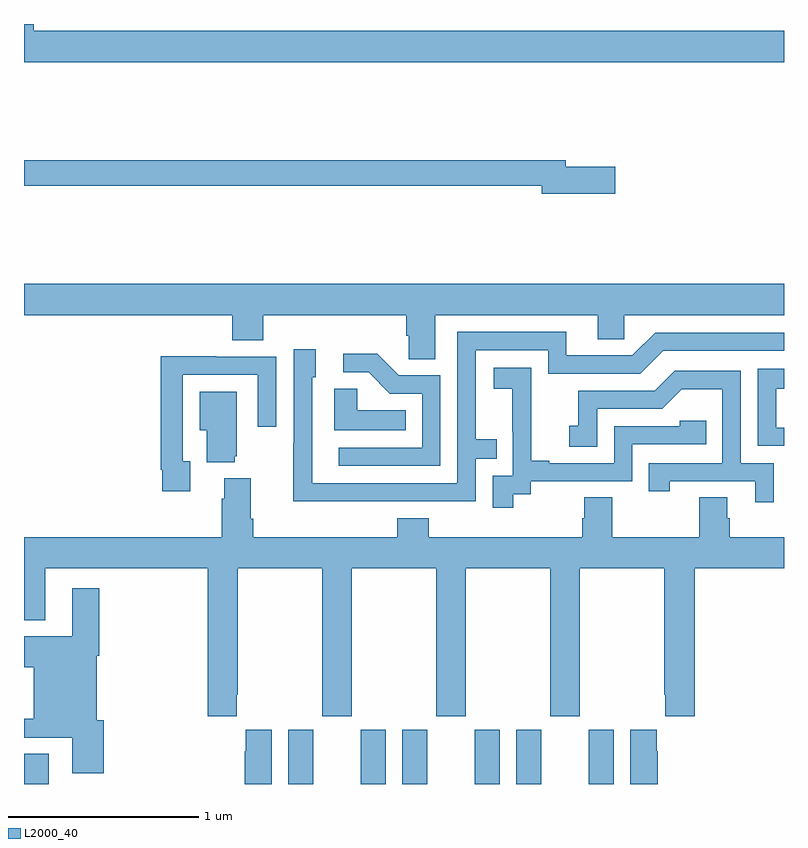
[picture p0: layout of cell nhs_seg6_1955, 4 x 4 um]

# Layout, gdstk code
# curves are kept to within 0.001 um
import gdstk
lib = gdstk.Library(unit=1e-6, precision=1e-09)
def R(c, l, rs):  # rectangles x0, y0, x1, y1
    for r in rs: c.add(gdstk.rectangle(r[:2], r[2:], *l))
def P(c, l, *ps):  # polygons
    for p in ps: c.add(gdstk.Polygon(p, *l))
L2000_40 = (2000, 40)

nhs_seg6_1955 = lib.new_cell('nhs_seg6_1955')
R(nhs_seg6_1955, L2000_40, [(227,979.5,227.131,979.658), (228.392,979.5,228.523,979.786), (228.773,979.5,228.904,979.786), (228.992,979.5,229.123,979.786), (229.373,979.5,229.504,979.786), (229.592,979.5,229.723,979.786), (229.973,979.5,230.104,979.786)])
P(nhs_seg6_1955, L2000_40, [(231,983.464),(227.051,983.464),(227.051,983.5),(227,983.5),(227,983.3),(231,983.3)],
  [(230.113,982.748),(229.852,982.748),(229.852,982.784),(227,982.784),(227,982.648),(229.724,982.648),(229.724,982.606),(230.113,982.606)],
  [(229.165,981.968),(230.021,981.968),(230.021,981.841),(230.16,981.841),(230.16,981.968),(231,981.968),(231,982.132),(227,982.132),(227,981.968),(228.095,981.968),(228.095,981.835),(228.26,981.835),(228.26,981.968),(229.013,981.968),(229.013,981.859),(229.026,981.859),(229.026,981.736),(229.165,981.736)],
  [(228.881,980.988),(229.377,980.988),(229.377,981.213),(229.487,981.213),(229.487,981.314),(229.377,981.314),(229.377,981.783),(229.758,981.783),(229.758,981.66),(230.244,981.66),(230.364,981.78),(231,981.78),(231,981.876),(230.322,981.876),(230.202,981.756),(229.855,981.756),(229.855,981.879),(229.281,981.879),(229.281,981.084),(228.516,981.084),(228.516,981.642),(228.535,981.642),(228.535,981.787),(228.42,981.787),(228.42,981.293),(228.418,981.293),(228.418,980.987)],
  [(229.191,981.651),(228.972,981.651),(228.859,981.764),(228.681,981.764),(228.681,981.666),(228.815,981.666),(228.926,981.555),(229.095,981.555),(229.095,981.27),(228.657,981.27),(228.657,981.174),(229.191,981.174)],
  [(227.875,981.198),(227.835,981.198),(227.835,981.654),(228.231,981.654),(228.231,981.381),(228.327,981.381),(228.327,981.75),(228.011,981.75),(228.011,981.752),(227.719,981.752),(227.719,981.154),(227.727,981.154),(227.727,981.042),(227.875,981.042)],
  [(229.576,981.025),(229.668,981.025),(229.668,981.093),(230.202,981.093),(230.202,981.288),(230.591,981.288),(230.591,981.411),(230.451,981.411),(230.451,981.384),(230.106,981.384),(230.106,981.189),(229.765,981.189),(229.765,981.202),(229.67,981.202),(229.67,981.485),(229.671,981.485),(229.671,981.691),(229.473,981.691),(229.473,981.581),(229.571,981.581),(229.571,981.353),(229.572,981.353),(229.572,981.123),(229.467,981.123),(229.467,980.955),(229.576,980.955)],
  [(231,981.375),(230.959,981.375),(230.959,981.579),(231,981.579),(231,981.685),(230.862,981.685),(230.862,981.279),(231,981.279)],
  [(230.946,981.189),(230.772,981.189),(230.772,981.675),(230.426,981.675),(230.321,981.57),(229.918,981.57),(229.918,981.385),(229.869,981.385),(229.869,981.276),(230.016,981.276),(230.016,981.474),(230.358,981.474),(230.462,981.578),(230.676,981.578),(230.676,981.189),(230.287,981.189),(230.287,981.042),(230.398,981.042),(230.398,981.093),(230.849,981.093),(230.849,980.982),(230.946,980.982)],
  [(229.01,981.466),(228.753,981.466),(228.753,981.581),(228.632,981.581),(228.632,981.362),(229.01,981.362)],
  [(228.11,981.225),(228.121,981.225),(228.121,981.565),(227.924,981.565),(227.924,981.362),(227.963,981.362),(227.963,981.194),(228.11,981.194)],
  [(228.121,979.969),(228.126,979.969),(228.126,980.636),(228.571,980.636),(228.571,979.857),(228.726,979.857),(228.726,980.636),(229.171,980.636),(229.171,979.857),(229.326,979.857),(229.326,980.636),(229.771,980.636),(229.771,979.857),(229.926,979.857),(229.926,980.636),(230.371,980.636),(230.371,979.969),(230.375,979.969),(230.375,979.857),(230.531,979.857),(230.531,980.636),(231,980.636),(231,980.8),(230.714,980.8),(230.714,980.898),(230.701,980.898),(230.701,981.008),(230.554,981.008),(230.554,980.8),(230.097,980.8),(230.097,981.008),(229.949,981.008),(229.949,980.898),(229.937,980.898),(229.937,980.8),(229.13,980.8),(229.13,980.899),(228.965,980.899),(228.965,980.8),(228.206,980.8),(228.206,980.896),(228.193,980.896),(228.193,981.109),(228.053,981.109),(228.053,981.002),(228.041,981.002),(228.041,980.8),(227,980.8),(227,980.363),(227.113,980.363),(227.113,980.636),(227.966,980.636),(227.966,979.857),(228.121,979.857)],
  [(227.42,979.836),(227.383,979.836),(227.383,980.174),(227.396,980.174),(227.396,980.53),(227.255,980.53),(227.255,980.278),(227,980.278),(227,980.114),(227.051,980.114),(227.051,979.844),(227,979.844),(227,979.743),(227.255,979.743),(227.255,979.557),(227.42,979.557)],
  [(228.304,979.786),(228.167,979.786),(228.167,979.673),(228.161,979.673),(228.161,979.5),(228.304,979.5)],
  [(230.336,979.673),(230.329,979.673),(230.329,979.786),(230.192,979.786),(230.192,979.5),(230.336,979.5)])

lib.write_gds('nhs_seg6_1955.gds')
